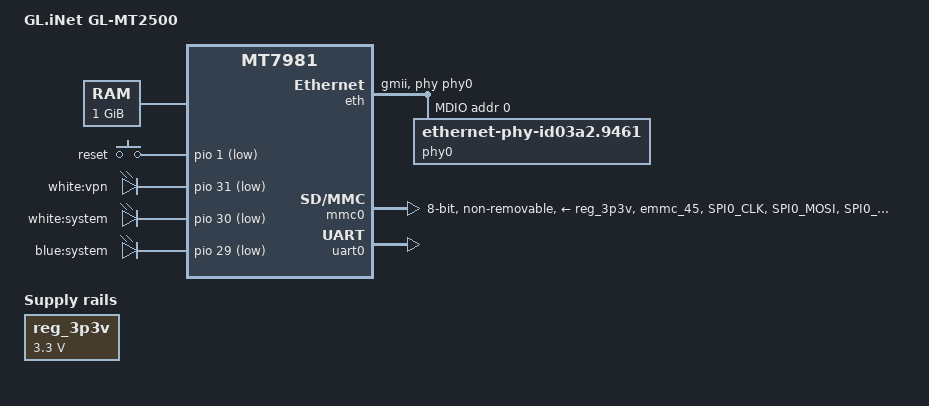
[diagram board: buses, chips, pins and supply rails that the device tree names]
// SPDX-License-Identifier: GPL-2.0

/dts-v1/;
#include "mt7981.dtsi"
#include <dt-bindings/gpio/gpio.h>
#include <dt-bindings/input/linux-event-codes.h>

/ {
	#address-cells = <1>;
	#size-cells = <1>;
	model = "GL.iNet GL-MT2500";
	compatible = "glinet,gl-mt2500", "mediatek,mt7981";

	chosen {
		stdout-path = &uart0;
		tick-timer = &timer0;
	};

	memory@40000000 {
		device_type = "memory";
		reg = <0x40000000 0x40000000>;
	};

	reg_3p3v: regulator-3p3v {
		compatible = "regulator-fixed";
		regulator-name = "fixed-3.3V";
		regulator-min-microvolt = <3300000>;
		regulator-max-microvolt = <3300000>;
		regulator-boot-on;
		regulator-always-on;
	};

	keys {
		compatible = "gpio-keys";

		reset {
			label = "reset";
			linux,code = <KEY_RESTART>;
			gpios = <&pio 1 GPIO_ACTIVE_LOW>;
		};
	};

	leds {
		compatible = "gpio-leds";

		led-vpn {
			label = "white:vpn";
			gpios = <&pio 31 GPIO_ACTIVE_LOW>;
		};

		white {
			label = "white:system";
			gpios = <&pio 30 GPIO_ACTIVE_LOW>;
		};

		blue {
			label = "blue:system";
			gpios = <&pio 29 GPIO_ACTIVE_LOW>;
		};
	};
};

&eth {
	status = "okay";
	mediatek,gmac-id = <1>;
	phy-mode = "gmii";
	phy-handle = <&phy0>;

	mdio {
		phy0: ethernet-phy@0 {
			compatible = "ethernet-phy-id03a2.9461";
			reg = <0x0>;
			phy-mode = "gmii";
		};
	};
};

&mmc0 {
	status = "okay";

	pinctrl-names = "default";
	pinctrl-0 = <&mmc0_pins_default>;
	bus-width = <8>;
	max-frequency = <26000000>;
	vmmc-supply = <&reg_3p3v>;
	cap-mmc-hw-highspeed;
	cap-mmc-hw-reset;
	non-removable;
};

&pio {
	mmc0_pins_default: mmc0-pins-default {
		mux {
			function = "flash";
			groups =  "emmc_45";
		};
		conf-cmd-dat {
			pins = "SPI0_CLK", "SPI0_MOSI", "SPI0_MISO",
				"SPI0_CS",  "SPI0_HOLD", "SPI0_WP",
				"SPI1_CLK", "SPI1_MOSI", "SPI1_MISO";
			input-enable;
			drive-strength = <MTK_DRIVE_12mA>;
			bias-pull-up = <MTK_PUPD_SET_R1R0_01>;
		};
		conf-clk {
			pins = "SPI1_CS";
			drive-strength = <MTK_DRIVE_12mA>;
			bias-pull-down = <MTK_PUPD_SET_R1R0_10>;
		};
		conf-rst {
			pins = "GPIO_WPS";
			drive-strength = <MTK_DRIVE_4mA>;
			bias-pull-up = <MTK_PUPD_SET_R1R0_01>;
		};
	};
};

&uart0 {
	status = "okay";
};
